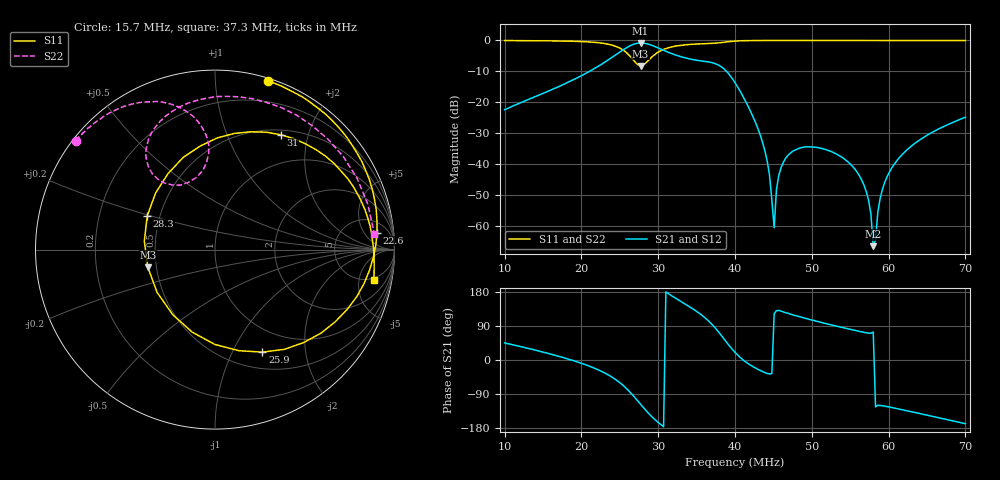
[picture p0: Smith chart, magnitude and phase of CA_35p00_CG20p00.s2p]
#  HZ  S  RI  R  50.00
! Rohde & Schwarz ZVT8 8Ports - Version 4.11 - 1300.0000k08 SN: 100242
! Date: 2026-07-31 14:45:42
! Measurements: S11 S21 S12 S22
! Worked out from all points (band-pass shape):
!   201 points, 10 MHz to 70 MHz, reference 50 ohm
!   highest |S21| = -0.82 dB at 27.7 MHz (marker M1); lowest = -66.6 dB at 58 MHz (marker M2)
!   |S21| within 3 dB of the highest: 24.96 MHz to 31.29 MHz (6.324 MHz wide, 22.5 % of centre)
!   lowest |S11| = -8.2 dB at 27.7 MHz (marker M3), VSWR 2.26, Z = 22.4 - j5.25 ohm
!   |S11| at or under -10 dB: nowhere
!   |S22| runs from -7.9 to 0.0 dB; largest |S21 - S12| = 0.0027
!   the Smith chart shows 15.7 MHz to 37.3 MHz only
!   S11 on the Smith chart (normalised r, x): 15.7 MHz: 0.02, +1.36; 22.6 MHz: 10, +10; 25.9 MHz: 0.70, -1.32; 28.3 MHz: 0.43, +0.19; 31 MHz: 0.56, +1.58; 37.3 MHz: 4.38, -8.03
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1e7  -0.4002 0.9124  0.0532 0.0536  0.0531 0.0536  -0.9181 0.3867
1.57e7  0.2939 0.9414  0.1445 0.0447  0.1446 0.0449  -0.7771 0.6071
2.02e7  0.7935 0.534  0.2721 -0.0482  0.2714 -0.048  -0.5699 0.7693
2.26e7  0.9026 0.0944  0.3553 -0.2036  0.3571 -0.2037  -0.3835 0.823
2.59e7  0.2642 -0.5711  0.1854 -0.7428  0.1868 -0.7432  -0.0483 0.6352
2.77e7  -0.3738 -0.0996  -0.4116 -0.8114  -0.4116 -0.8109  -0.1451 0.3759
2.83e7  -0.3776 0.1879  -0.5882 -0.6758  -0.588 -0.6756  -0.2375 0.3599
3.01e7  0.1085 0.6475  -0.7256 -0.1723  -0.7239 -0.1726  -0.3866 0.5365
3.1e7  0.3671 0.6398  -0.6675 0.00445  -0.6663 0.00495  -0.3545 0.6493
3.49e7  0.8633 0.1344  -0.3054 0.3694  -0.3067 0.3689  0.2858 0.8204
3.73e7  0.8848 -0.172  0.0189 0.4257  0.019 0.4255  0.8884 0.0849
4e7  0.8289 -0.5133  0.1947 0.0716  0.1943 0.0714  -0.3132 -0.9152
4.39e7  0.4655 -0.8832  0.0135 -0.00886  0.0136 -0.00878  -0.989 0.1095
4.51e7  0.3305 -0.9422  -0.000492 0.000785  -0.000452 0.000821  -0.9511 0.297
4.54e7  0.2955 -0.9528  -0.0025 0.00295  -0.00252 0.00295  -0.9386 0.3362
4.63e7  0.1898 -0.9797  -0.00638 0.00857  -0.00641 0.00854  -0.8953 0.4368
5.02e7  -0.2607 -0.9636  -0.00471 0.0182  -0.00474 0.0182  -0.693 0.7162
5.62e7  -0.8087 -0.5832  0.00162 0.00624  0.00162 0.00621  -0.3998 0.9134
5.74e7  -0.8805 -0.4698  0.000833 0.00241  0.000817 0.00241  -0.3428 0.9357
5.8e7  -0.9091 -0.4094  0.000131 0.000447  0.000123 0.000466  -0.3154 0.946
6.01e7  -0.9785 -0.1863  -0.00412 -0.0061  -0.00411 -0.00608  -0.2199 0.9721
7e7  -0.592 0.7995  -0.0559 -0.0117  -0.0556 -0.0118  0.2129 0.9728
